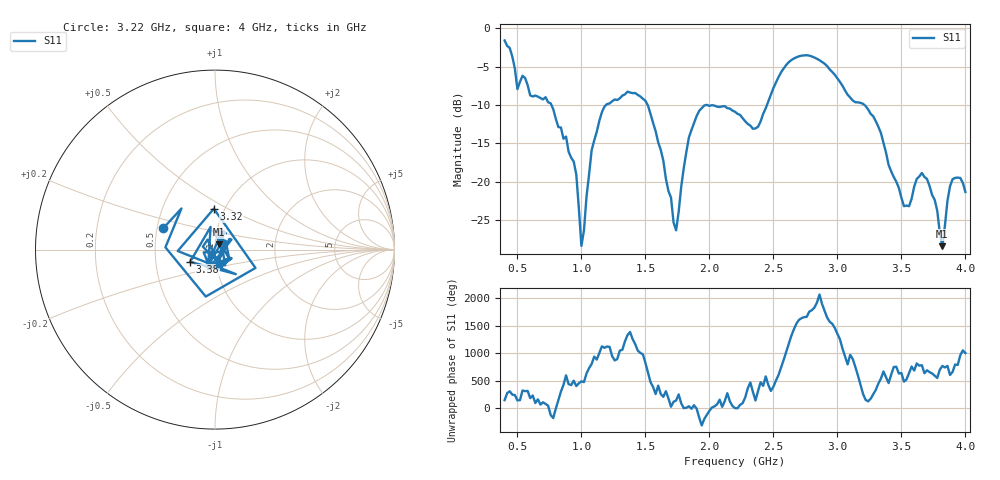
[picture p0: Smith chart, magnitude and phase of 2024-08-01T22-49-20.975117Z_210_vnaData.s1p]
!Created with skrf (http://scikit-rf.org).
# Hz S RI R 50.0
!freq ReS11 ImS11
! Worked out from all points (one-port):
!   181 points, 400 MHz to 4 GHz, reference 50 ohm
!   lowest |S11| = -28.4 dB at 3.82 GHz (marker M1), VSWR 1.08, Z = 52.4 + j3.07 ohm
!   |S11| at or under -10 dB: 1.517 GHz to 1.978 GHz (460.6 MHz wide, 26.4 % of centre); 1.981 GHz to 2.45 GHz (468.6 MHz wide, 21.2 % of centre); 3.21 GHz to end of sweep (the widest 3 of 4)
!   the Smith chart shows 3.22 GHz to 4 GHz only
!   S11 on the Smith chart (normalised r, x): 3.22 GHz: 0.54, +0.14; 3.32 GHz: 0.89, +0.43; 3.38 GHz: 0.75, -0.11; 4 GHz: 1.03, -0.17
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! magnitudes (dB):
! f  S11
! 400 MHz  -1.6
! 500 MHz  -7.9
! 720 MHz  -9.0
! 860 MHz  -14.4
! 960 MHz  -19.1
! 1 GHz  -28.4
! 1.08 GHz  -15.9
! 1.18 GHz  -10.2
! 1.3 GHz  -9.1
! 1.52 GHz  -10.1
! 1.72 GHz  -25.3
! 1.76 GHz  -23.9
! 1.84 GHz  -14.2
! 1.92 GHz  -10.8
! 2.2 GHz  -10.9
! 2.38 GHz  -12.8
! 2.66 GHz  -4.0
! 2.9 GHz  -4.6
! 3.1 GHz  -9.0
! 3.22 GHz  -10.1
! 3.32 GHz  -12.8
! 3.38 GHz  -16.2
! 3.56 GHz  -23.2
! 3.62 GHz  -19.6
! 3.7 GHz  -19.6
! 3.82 GHz  -28.4
! 3.9 GHz  -19.7
! 4 GHz  -21.3
